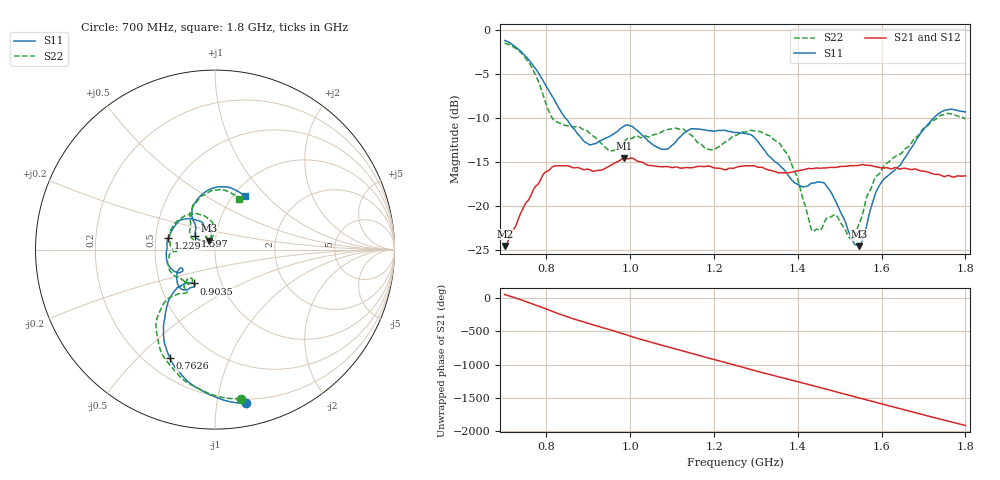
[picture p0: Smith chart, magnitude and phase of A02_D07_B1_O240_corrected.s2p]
! Created with skrf 1.9.0 (http://scikit-rf.org).
# Hz S RI R 50.0
!freq ReS11 ImS11 ReS21 ImS21 ReS12 ImS12 ReS22 ImS22
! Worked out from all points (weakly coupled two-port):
!   1601 points, 700 MHz to 1.8 GHz, reference 50 ohm
!   highest |S21| = -14.52 dB at 986 MHz (marker M1); lowest = -24.5 dB at 700.7 MHz (marker M2)
!   lowest |S11| = -24.5 dB at 1.546 GHz (marker M3), VSWR 1.13, Z = 46.6 + j4.63 ohm
!   |S11| at or under -10 dB: 845.8 MHz to 1.724 GHz (877.8 MHz wide, 68.3 % of centre)
!   |S22| runs from -23.8 to -1.5 dB; largest |S21 - S12| = 0.0037
!   S11 on the Smith chart (normalised r, x): 700 MHz: 0.17, -1.21; 762.6 MHz: 0.30, -0.63; 903.5 MHz: 0.74, -0.29; 1.229 GHz: 0.58, +0.08; 1.597 GHz: 0.79, +0.12; 1.8 GHz: 1.12, +0.77
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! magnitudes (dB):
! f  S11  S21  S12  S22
! 700 MHz  -1.2  -24.5  -24.3  -1.5
! 700.7 MHz  -1.2  -24.5  -24.2  -1.5
! 762.6 MHz  -3.7  -18.8  -18.8  -4.0
! 816.2 MHz  -7.7  -15.5  -15.6  -10.2
! 883.6 MHz  -12.3  -15.8  -15.7  -11.2
! 903.5 MHz  -13.0  -15.9  -15.8  -11.7
! 952.3 MHz  -12.0  -15.4  -15.4  -13.7
! 986 MHz  -10.9  -14.5  -14.6  -12.7
! 1.067 GHz  -13.3  -15.5  -15.4  -11.8
! 1.145 GHz  -11.2  -15.6  -15.6  -11.9
! 1.229 GHz  -11.4  -15.8  -15.7  -12.7
! 1.25 GHz  -11.6  -15.6  -15.6  -12.0
! 1.357 GHz  -15.4  -16.2  -16.1  -12.9
! 1.396 GHz  -17.4  -16.0  -16.0  -16.4
! 1.434 GHz  -17.4  -15.7  -15.7  -22.7
! 1.471 GHz  -17.8  -15.6  -15.6  -21.3
! 1.528 GHz  -23.5  -15.4  -15.4  -23.8
! 1.546 GHz  -24.5  -15.3  -15.3  -21.9
! 1.597 GHz  -17.5  -15.6  -15.6  -16.2
! 1.617 GHz  -16.4  -15.7  -15.6  -15.0
! 1.733 GHz  -9.6  -16.4  -16.4  -10.0
! 1.8 GHz  -9.3  -16.5  -16.5  -10.1
